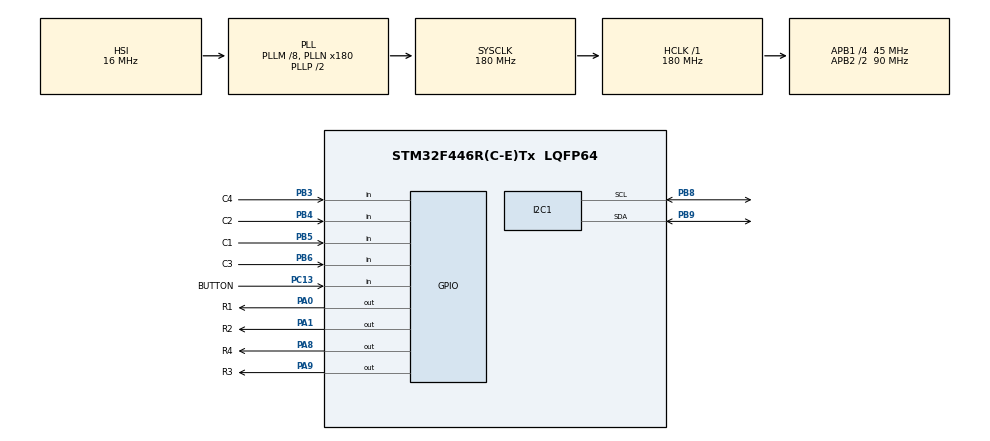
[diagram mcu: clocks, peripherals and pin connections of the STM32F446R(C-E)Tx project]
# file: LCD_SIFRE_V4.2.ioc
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I2C1.I2C_Mode=I2C_Standard
Mcu.Family=STM32F4
Mcu.Name=STM32F446R(C-E)Tx
Mcu.Package=LQFP64
NVIC.I2C1_EV_IRQn=true\:0\:0\:false\:false\:true\:true\:true\:true
NVIC.PriorityGroup=NVIC_PRIORITYGROUP_0
PA0-WKUP.GPIO_Label=R1
PA0-WKUP.Signal=GPIO_Output
PA1.GPIO_Label=R2
PA1.Signal=GPIO_Output
PA8.GPIO_Label=R4
PA8.Signal=GPIO_Output
PA9.GPIO_Label=R3
PA9.GPIO_PuPd=GPIO_PULLUP
PA9.Signal=GPIO_Output
PB3.GPIO_Label=C4
PB3.GPIO_PuPd=GPIO_PULLUP
PB3.Signal=GPIO_Input
PB4.GPIO_Label=C2
PB4.GPIO_PuPd=GPIO_PULLUP
PB4.Signal=GPIO_Input
PB5.GPIO_Label=C1
PB5.GPIO_PuPd=GPIO_PULLUP
PB5.Signal=GPIO_Input
PB6.GPIO_Label=C3
PB6.GPIO_PuPd=GPIO_PULLUP
PB6.Signal=GPIO_Input
PB8.Mode=I2C
PB8.Signal=I2C1_SCL
PB9.Mode=I2C
PB9.Signal=I2C1_SDA
PC13.GPIO_Label=BUTTON
PC13.GPIO_PuPd=GPIO_PULLUP
PC13.Signal=GPIO_Input
ProjectManager.HeapSize=0x200
ProjectManager.StackSize=0x400
ProjectManager.TargetToolchain=STM32CubeIDE
RCC.AHBFreq_Value=180000000
RCC.APB1CLKDivider=RCC_HCLK_DIV4
RCC.APB1Freq_Value=45000000
RCC.APB1TimFreq_Value=90000000
RCC.APB2CLKDivider=RCC_HCLK_DIV2
RCC.APB2Freq_Value=90000000
RCC.APB2TimFreq_Value=180000000
RCC.CortexFreq_Value=180000000
RCC.FLatency-AdvancedSettings=FLASH_LATENCY_5
RCC.HCLKFreq_Value=180000000
RCC.HSE_VALUE=8000000
RCC.HSI_VALUE=16000000
RCC.LSE_VALUE=32768
RCC.PLLM=8
RCC.PLLN=180
RCC.SYSCLKFreq_VALUE=180000000
RCC.SYSCLKSource=RCC_SYSCLKSOURCE_PLLCLK
RCC.USBFreq_Value=180000000
RCC.VCOOutputFreq_Value=360000000
board=NUCLEO-F446RE

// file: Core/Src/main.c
/* USER CODE BEGIN Header */
/**
 ******************************************************************************
 * @file           : main.c
 * @brief          : Main program body
 ******************************************************************************
 * @attention
 *
 * Copyright (c) 2024 STMicroelectronics.
 * All rights reserved.
 *
 * This software is licensed under terms that can be found in the LICENSE file
 * in the root directory of this software component.
 * If no LICENSE file comes with this software, it is provided AS-IS.
 *
 ******************************************************************************
 */
/* USER CODE END Header */
#include "main.h"

/* USER CODE BEGIN Includes */
#include "i2c-lcd.h"
#include "string.h"
/* USER CODE END Includes */

I2C_HandleTypeDef hi2c1;

void SystemClock_Config(void);
static void MX_GPIO_Init(void);
static void MX_I2C1_Init(void);

/* USER CODE BEGIN 0 */
#define ROW_COUNT 4
#define COL_COUNT 4

char password[] = "1234"; // Doğru şifre
int entered_password[4] = {}; // 4 karakterlik bir dizi
int entered_new_password[4] = {}; // 4 karakterlik bir dizi

char key = '\0';
char last_key = '\0';

uint16_t main_next = 0;
uint8_t next = 0;
uint8_t change_password_next = 0;

uint32_t milis = 0;

uint32_t timeout = 0;
uint32_t main_timeout = 0;
uint32_t change_password_timeout = 0;

int j = 0; // j değişkenini static olarak tanımlayın
int k = 0;

uint16_t row_pins[ROW_COUNT] = {R1_Pin, R2_Pin, R3_Pin, R4_Pin};
uint16_t col_pins[COL_COUNT] = {C1_Pin, C2_Pin, C3_Pin, C4_Pin};

char keypad_scan(void) {

    char key_map[ROW_COUNT][COL_COUNT] = { //Keypad Karakterler
        {'1', '2', '3', 'A'},
        {'4', '5', '6', 'B'},
        {'7', '8', '9', 'C'},
        {'*', '0', '#', 'D'}
    };

    static int key_state[ROW_COUNT][COL_COUNT] = { 0 }; // Tuş durumlarını sakla
	char pressed_key = '\0'; // Basılan tuşun değeri

	for (int row = 0; row < ROW_COUNT; row++) {
		HAL_GPIO_WritePin(GPIOA, row_pins[row], GPIO_PIN_RESET); // Row pinini düşük seviyeye ayarla

		for (int col = 0; col < COL_COUNT; col++) {
			if (HAL_GPIO_ReadPin(GPIOB, col_pins[col]) == GPIO_PIN_RESET) {
				if (key_state[row][col] == 0) { // Tuş basılmış mı kontrol et
					key_state[row][col] = 1; // Tuşun basıldığını kaydet
					pressed_key = key_map[row][col]; // Basılan tuşun değerini al
				}
			} else {
				key_state[row][col] = 0; // Tuş bırakıldığında durumu sıfırla
			}
		}

		HAL_GPIO_WritePin(GPIOA, row_pins[row], GPIO_PIN_SET); // Row pinini tekrar yüksek seviyeye ayarla
	}

	return pressed_key; // Basılan tuşun değerini döndür
}

void main_menu() {

	if (main_next == 0) { // Ana menuye giris
		lcd_clear();
		lcd_put_cur(0, 0);
		lcd_send_string("Butona Basiniz ");
		last_key = 0;
		change_password_next = 0;
		main_next = 1;

	} else if (main_next == 1) {

		if (HAL_GPIO_ReadPin(BUTTON_GPIO_Port, BUTTON_Pin) == 1) {
			main_timeout = milis + 1250;

		}
		if (milis > main_timeout) {
			main_next = 2;
		}

	} else if (main_next == 2) {

		lcd_clear();
		lcd_put_cur(0, 0);
		lcd_send_string("Sifre Giriniz: ");
		main_next = 3;

	} else if (main_next == 3) { // sifre girme

		if (milis > main_timeout) {
			if (key != '\0') { // Herhangi bir tuşa basıldıysa
				lcd_put_cur(1, j);
				lcd_send_string("*");
				entered_password[j++] = key; // Basılan tuslari diziye ata
				main_timeout = milis + 250;

				if (j == 4) { // Sifre 4 karakter alır

					main_timeout = milis + 250;
					j = 0;
					main_next = 6;
				}
			}
		}

	} else if (main_next == 6) {

		if (milis > main_timeout) {
			int i = 0;
			for ( i = 0; i < 4; i++) {
				if (entered_password[i] != password[i]) { // Sifre karsilastirma
					break; // Karakterler eşit değilse döngüden çık
				}
			}
			if (i == 4) { // Döngü normal şekilde tamamlanmışsa şifreler eşittir
				lcd_clear();
				lcd_put_cur(0, 0);
				lcd_send_string("Kapi Aciliyor");
				main_timeout = milis + 1000;
				main_next = 101;
			} else {
				lcd_clear();
				lcd_put_cur(0, 0);
				lcd_send_string("Sifre Yanlis");
				main_timeout = milis + 1000;
				main_next = 102;
			}
		}

	} else if (main_next == 101 || main_next == 102) { // Sifre girme islemi bittiyse
		if (milis > main_timeout) {
			main_next = 0;
		}
	}
}

void change_password() { // Sifre degistirme menusu

	if (change_password_next == 0) {
		if (key == '*') { // Yıldız tuşuna basılma durumu

			change_password_next = 1;
			change_password_timeout = milis + 500;
		}

	} else if (change_password_next == 1) {

		main_next = 1000;
		change_password_next = 2;

	} else if (change_password_next == 2) {

		if (milis > change_password_timeout) {
			if (key == '*') { // 2. defa yıldız tusuna basıldıysa
				change_password_next = 3;
			}
		}

	} else if (change_password_next == 3) {
		lcd_clear();
		lcd_put_cur(0, 0);
		lcd_send_string("Yeni Sifre:");
		change_password_next = 4;

	} else if (change_password_next == 4) {
		if (key != '\0') { // Herhangi bir tusa basildiysa
			lcd_put_cur(1, k);
			lcd_send_string("*");
			entered_new_password[k++] = key;

			change_password_timeout = milis + 300;

			if (k == 4) {

				change_password_timeout = milis + 300;
				k = 0;
				change_password_next = 5;
			}
		}
		if(key == 'D'){
			change_password_next = 0;
			main_next = 0;
			k = 0;
		}

	} else if (change_password_next == 5) {
		if (milis > change_password_timeout) {
			for (int i = 0; i < 4; i++) {
				password[i] = entered_new_password[i]; // yeni sifreyi atama
			}
			if (HAL_GPIO_ReadPin(BUTTON_GPIO_Port, BUTTON_Pin) == 0) {

				lcd_clear();
				lcd_put_cur(0, 0);
				lcd_send_string("Sifre Degisti");

				change_password_timeout = milis + 1000;
				change_password_next = 6;
			}
		}
	}else if(change_password_next == 6){
		if(milis > change_password_timeout){
			change_password_next = 100;
			main_next = 0;
		}
	}
}

/* USER CODE END 0 */

int main(void)
{

  /* MCU Configuration--------------------------------------------------------*/

  /* Reset of all peripherals, Initializes the Flash interface and the Systick. */
  HAL_Init();

  /* Configure the system clock */
  SystemClock_Config();

  /* Initialize all configured peripherals */
  MX_GPIO_Init();
  MX_I2C1_Init();
  /* USER CODE BEGIN 2 */

	lcd_init();

  /* USER CODE END 2 */

  /* Infinite loop */
  /* USER CODE BEGIN WHILE */
	while (1) {
		milis = HAL_GetTick();
		key = keypad_scan();
		main_menu();
		change_password();

    /* USER CODE END WHILE */

	}
}

void SystemClock_Config(void)
{
  RCC_OscInitTypeDef RCC_OscInitStruct = {0};
  RCC_ClkInitTypeDef RCC_ClkInitStruct = {0};

  /** Configure the main internal regulator output voltage
  */
  __HAL_RCC_PWR_CLK_ENABLE();
  __HAL_PWR_VOLTAGESCALING_CONFIG(PWR_REGULATOR_VOLTAGE_SCALE1);

  /** Initializes the RCC Oscillators according to the specified parameters
  * in the RCC_OscInitTypeDef structure.
  */
  RCC_OscInitStruct.OscillatorType = RCC_OSCILLATORTYPE_HSI;
  RCC_OscInitStruct.HSIState = RCC_HSI_ON;
  RCC_OscInitStruct.HSICalibrationValue = RCC_HSICALIBRATION_DEFAULT;
  RCC_OscInitStruct.PLL.PLLState = RCC_PLL_ON;
  RCC_OscInitStruct.PLL.PLLSource = RCC_PLLSOURCE_HSI;
  RCC_OscInitStruct.PLL.PLLM = 8;
  RCC_OscInitStruct.PLL.PLLN = 180;
  RCC_OscInitStruct.PLL.PLLP = RCC_PLLP_DIV2;
  RCC_OscInitStruct.PLL.PLLQ = 2;
  RCC_OscInitStruct.PLL.PLLR = 2;
  if (HAL_RCC_OscConfig(&RCC_OscInitStruct) != HAL_OK)
  {
    Error_Handler();
  }

  /** Activate the Over-Drive mode
  */
  if (HAL_PWREx_EnableOverDrive() != HAL_OK)
  {
    Error_Handler();
  }

  /** Initializes the CPU, AHB and APB buses clocks
  */
  RCC_ClkInitStruct.ClockType = RCC_CLOCKTYPE_HCLK|RCC_CLOCKTYPE_SYSCLK
                              |RCC_CLOCKTYPE_PCLK1|RCC_CLOCKTYPE_PCLK2;
  RCC_ClkInitStruct.SYSCLKSource = RCC_SYSCLKSOURCE_PLLCLK;
  RCC_ClkInitStruct.AHBCLKDivider = RCC_SYSCLK_DIV1;
  RCC_ClkInitStruct.APB1CLKDivider = RCC_HCLK_DIV4;
  RCC_ClkInitStruct.APB2CLKDivider = RCC_HCLK_DIV2;

  if (HAL_RCC_ClockConfig(&RCC_ClkInitStruct, FLASH_LATENCY_5) != HAL_OK)
  {
    Error_Handler();
  }
}

static void MX_I2C1_Init(void)
{

  hi2c1.Instance = I2C1;
  hi2c1.Init.ClockSpeed = 100000;
  hi2c1.Init.DutyCycle = I2C_DUTYCYCLE_2;
  hi2c1.Init.OwnAddress1 = 0;
  hi2c1.Init.AddressingMode = I2C_ADDRESSINGMODE_7BIT;
  hi2c1.Init.DualAddressMode = I2C_DUALADDRESS_DISABLE;
  hi2c1.Init.OwnAddress2 = 0;
  hi2c1.Init.GeneralCallMode = I2C_GENERALCALL_DISABLE;
  hi2c1.Init.NoStretchMode = I2C_NOSTRETCH_DISABLE;
  if (HAL_I2C_Init(&hi2c1) != HAL_OK)
  {
    Error_Handler();
  }

}

static void MX_GPIO_Init(void)
{
  GPIO_InitTypeDef GPIO_InitStruct = {0};

  /* GPIO Ports Clock Enable */
  __HAL_RCC_GPIOC_CLK_ENABLE();
  __HAL_RCC_GPIOA_CLK_ENABLE();
  __HAL_RCC_GPIOB_CLK_ENABLE();

  /*Configure GPIO pin Output Level */
  HAL_GPIO_WritePin(GPIOA, R1_Pin|R2_Pin|R4_Pin|R3_Pin, GPIO_PIN_RESET);

  /*Configure GPIO pin : BUTTON_Pin */
  GPIO_InitStruct.Pin = BUTTON_Pin;
  GPIO_InitStruct.Mode = GPIO_MODE_INPUT;
  GPIO_InitStruct.Pull = GPIO_PULLUP;
  HAL_GPIO_Init(BUTTON_GPIO_Port, &GPIO_InitStruct);

  /*Configure GPIO pins : R1_Pin R2_Pin R4_Pin */
  GPIO_InitStruct.Pin = R1_Pin|R2_Pin|R4_Pin;
  GPIO_InitStruct.Mode = GPIO_MODE_OUTPUT_PP;
  GPIO_InitStruct.Pull = GPIO_NOPULL;
  GPIO_InitStruct.Speed = GPIO_SPEED_FREQ_LOW;
  HAL_GPIO_Init(GPIOA, &GPIO_InitStruct);

  /*Configure GPIO pin : R3_Pin */
  GPIO_InitStruct.Pin = R3_Pin;
  GPIO_InitStruct.Mode = GPIO_MODE_OUTPUT_PP;
  GPIO_InitStruct.Pull = GPIO_PULLUP;
  GPIO_InitStruct.Speed = GPIO_SPEED_FREQ_LOW;
  HAL_GPIO_Init(R3_GPIO_Port, &GPIO_InitStruct);

  /*Configure GPIO pins : C4_Pin C2_Pin C1_Pin C3_Pin */
  GPIO_InitStruct.Pin = C4_Pin|C2_Pin|C1_Pin|C3_Pin;
  GPIO_InitStruct.Mode = GPIO_MODE_INPUT;
  GPIO_InitStruct.Pull = GPIO_PULLUP;
  HAL_GPIO_Init(GPIOB, &GPIO_InitStruct);

}

void Error_Handler(void)
{
	__disable_irq();
	while (1) {
	}
}
